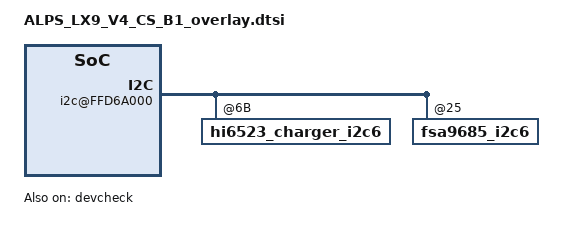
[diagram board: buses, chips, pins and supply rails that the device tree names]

/**
 * Copyright (C) 2014 Hisilicon Ltd.
 *
 *  This program is free software; you can redistribute it and/or modify
 *  it under the terms of the GNU General Public License version 2 as
 *  publishhed by the Free Software Foundation.
 */

/include/ "ALPS_LX9_V3_CS_2LANE_overlay.dtsi"

/ {
	board_id = <6415>;
};

&rootparam {
    hisi,boardid = <6 4 1 5>;
    hisi,boardname = "ALPS_LX9_V4_CS_B1";
};

	&amba {
		i2c@FFD6A000 {
			hi6523_charger_i2c6@6B{
				status = "ok";
				fcp_support = <0>;
				scp_support = <0>;
				scp_need_extra_power = <0>;
			};
			fsa9685_i2c6@25{
				status = "ok";
			};
		};
	};
	&devcheck {
		usb_switch = <3>;
		status = "ok";
	};
	&hisi_usb {
		set_hi_impedance = <0x1>;
	};
